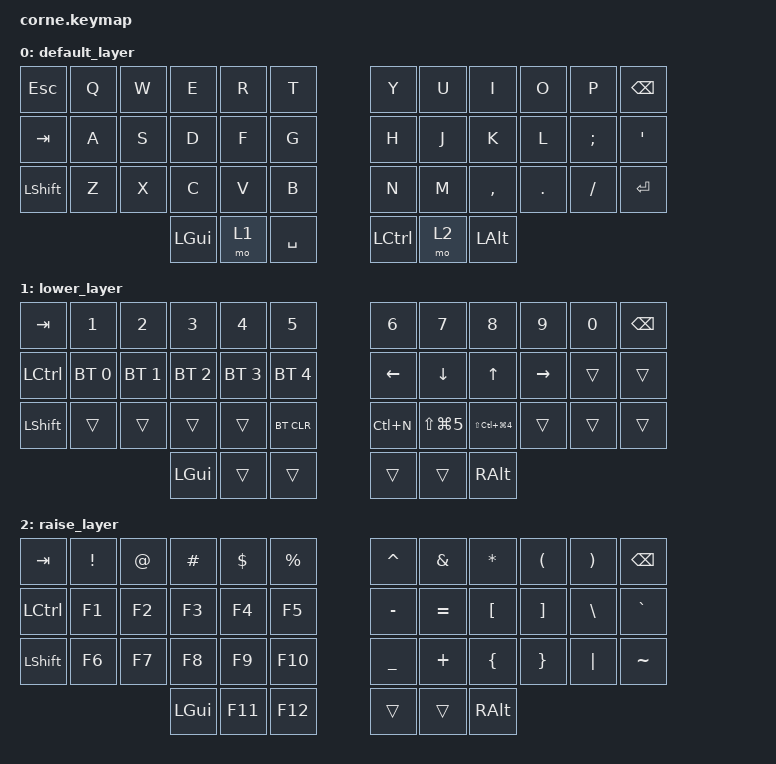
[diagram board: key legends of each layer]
/*
 * Copyright (c) 2020 The ZMK Contributors
 *
 * SPDX-License-Identifier: MIT
 */

#include <behaviors.dtsi>
#include <dt-bindings/zmk/bt.h>
#include <dt-bindings/zmk/keys.h>

/ {
    combos {
        compatible = "zmk,combos";

        combo_esc {
            timeout-ms = <50>;
            key-positions = <0 1>;
            bindings = <&kp ESC>;
        };
    };

    behaviors {
        ss_hs_modmorph: ss_hs_modmorph {
            compatible = "zmk,behavior-mod-morph";
            label = "SS_HS_MODMORPH";
            bindings = <&kp M>, <&kp RIGHT_BRACKET>;

            #binding-cells = <0>;
            mods = <(MOD_LSFT|MOD_RSFT)>;
        };

        kh_hs_tapdance: kh_hs_tapdance {
            compatible = "zmk,behavior-tap-dance";
            label = "KH_HS_TAPDANCE";
            #binding-cells = <0>;
            tapping-term-ms = <200>;
            bindings = <&kp LEFT_BRACKET>, <&kp RIGHT_BRACKET>;
        };

        hrm: hrm {
            compatible = "zmk,behavior-hold-tap";
            #binding-cells = <2>;
            flavor = "tap-preferred";
            tapping-term-ms = <200>;
            quick-tap-ms = <200>;
            require-prior-idle-ms = <125>;
            bindings = <&kp>, <&kp>;
        };
    };

    keymap {
        compatible = "zmk,keymap";

        default_layer {
            // -----------------------------------------------------------------------------------------
            // |  TAB |  Q  |  W  |  E  |  R  |  T  |   |  Y  |  U   |  I  |  O  |  P  | BKSP |
            // | CTRL |  A  |  S  |  D  |  F  |  G  |   |  H  |  J   |  K  |  L  |  ;  |  '   |
            // | SHFT |  Z  |  X  |  C  |  V  |  B  |   |  N  |  M   |  ,  |  .  |  /  | ESC  |
            //                    | GUI | LWR | SPC |   | ENT | RSE  | ALT |

            bindings = <
&kp ESCAPE  &kp Q  &kp W  &kp E     &kp R  &kp T        &kp Y      &kp U  &kp I         &kp O    &kp P     &kp BSPC
&kp TAB     &kp A  &kp S  &kp D     &kp F  &kp G        &kp H      &kp J  &kp K         &kp L    &kp SEMI  &kp SQT
&kp LSHFT   &kp Z  &kp X  &kp C     &kp V  &kp B        &kp N      &kp M  &kp COMMA     &kp DOT  &kp FSLH  &kp ENTER
                          &kp LGUI  &mo 1  &kp SPACE    &kp LCTRL  &mo 2  &kp LEFT_ALT
            >;
        };

        lower_layer {
            // -----------------------------------------------------------------------------------------
            // |  TAB |  1  |  2  |  3  |  4  |  5  |   |  6  |  7  |  8  |  9  |  0  | BKSP |
            // | BTCLR| BT1 | BT2 | BT3 | BT4 | BT5 |   | LFT | DWN |  UP | RGT |     |      |
            // | SHFT |     |     |     |     |     |   |     |     |     |     |     |      |
            //                    | GUI |     | SPC |   | ENT |     | ALT |

            bindings = <
&kp TAB           &kp N1        &kp N2        &kp N3        &kp N4        &kp N5          &kp N6     &kp N7          &kp N8                    &kp N9     &kp N0  &kp BSPC
&kp LEFT_CONTROL  &bt BT_SEL 0  &bt BT_SEL 1  &bt BT_SEL 2  &bt BT_SEL 3  &bt BT_SEL 4    &kp LEFT   &kp DOWN        &kp UP                    &kp RIGHT  &trans  &trans
&kp LSHFT         &trans        &trans        &trans        &trans        &bt BT_CLR      &kp LC(N)  &kp LS(LG(N5))  &kp LS(LC(LG(NUMBER_4)))  &trans     &trans  &trans
                                              &kp LGUI      &trans        &trans          &trans     &trans          &kp RALT
            >;
        };

        raise_layer {
            // -----------------------------------------------------------------------------------------
            // |  TAB |  !  |  @  |  #  |  $  |  %  |   |  ^  |  &  |  *  |  (  |  )  | BKSP |
            // | CTRL |     |     |     |     |     |   |  -  |  =  |  [  |  ]  |  \  |  `   |
            // | SHFT |     |     |     |     |     |   |  _  |  +  |  {  |  }  | "|" |  ~   |
            //                    | GUI |     | SPC |   | ENT |     | ALT |

            bindings = <
&kp TAB    &kp EXCL  &kp AT  &kp HASH  &kp DLLR  &kp PRCNT    &kp CARET  &kp AMPS   &kp ASTRK  &kp LPAR  &kp RPAR  &kp BSPC
&kp LCTRL  &kp F1    &kp F2  &kp F3    &kp F4    &kp F5       &kp MINUS  &kp EQUAL  &kp LBKT   &kp RBKT  &kp BSLH  &kp GRAVE
&kp LSHFT  &kp F6    &kp F7  &kp F8    &kp F9    &kp F10      &kp UNDER  &kp PLUS   &kp LBRC   &kp RBRC  &kp PIPE  &kp TILDE
                             &kp LGUI  &kp F11   &kp F12      &trans     &trans     &kp RALT
            >;
        };
    };
};
